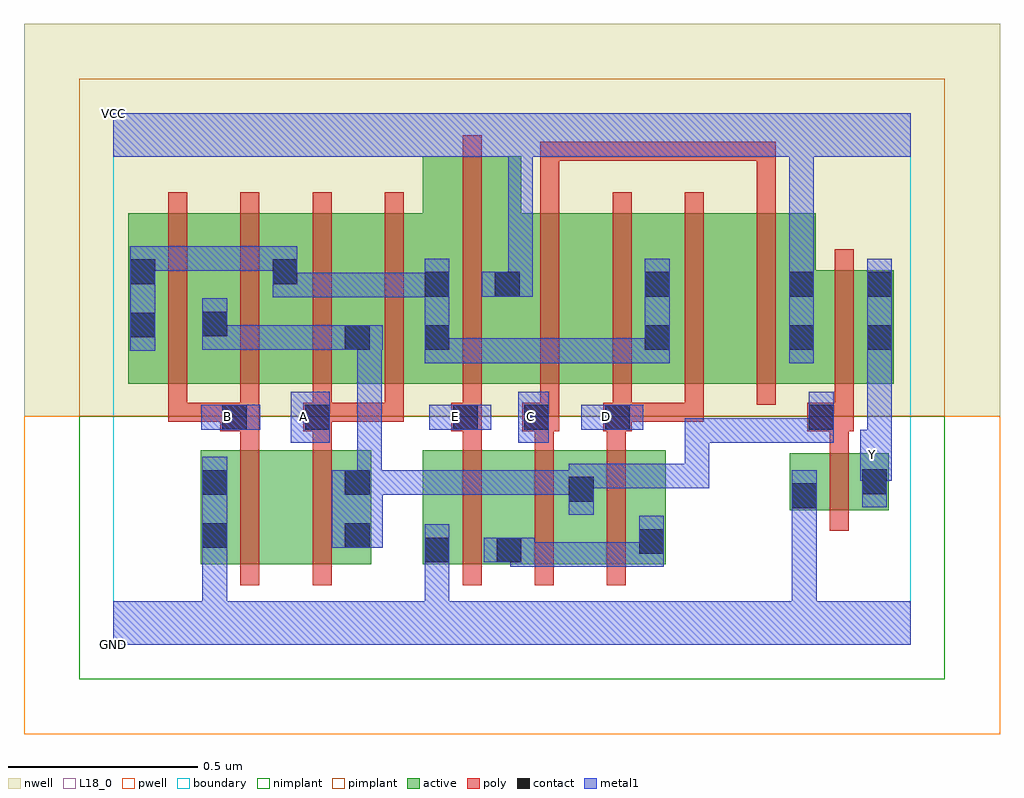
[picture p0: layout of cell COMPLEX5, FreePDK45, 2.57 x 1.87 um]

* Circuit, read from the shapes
.subckt COMPLEX5 A B C D E GND VCC Y
M1 n1 B GND VSUBS nfet w=0.3u l=0.05u
M2 n2 A n1 VSUBS nfet w=0.3u l=0.05u
M3 n3 E GND VSUBS nfet w=0.3u l=0.05u
M4 n2 C n3 VSUBS nfet w=0.3u l=0.05u
M5 n3 D n2 VSUBS nfet w=0.3u l=0.05u
M6 Y n2 GND VSUBS nfet w=0.15u l=0.05u
M7 n2 B n4 n5 pfet w=0.45u l=0.05u m=2
M8 n2 A n4 n5 pfet w=0.45u l=0.05u m=2
M9 VCC E n4 n5 pfet w=0.6u l=0.05u
M10 n6 C VCC n5 pfet w=0.45u l=0.05u
M11 n4 D n6 n5 pfet w=0.45u l=0.05u
M12 n7 D n4 n5 pfet w=0.45u l=0.05u
M13 VCC C n7 n5 pfet w=0.45u l=0.05u
M14 Y n2 VCC n5 pfet w=0.3u l=0.05u
.ends

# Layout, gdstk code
import gdstk
lib = gdstk.Library(unit=1e-6, precision=1e-09)
def R(c, l, rs):  # rectangles x0, y0, x1, y1
    for r in rs: c.add(gdstk.rectangle(r[:2], r[2:], *l))
def A(c, l, x, y, w, h, nx, ny, dx, dy):  # array of equal rectangles
    R(c, l, [(x+i*dx, y+j*dy, x+i*dx+w, y+j*dy+h) for i in range(nx) for j in range(ny)])
active = (1, 0)
pwell = (2, 0)
nwell = (3, 0)
nimplant = (4, 0)
pimplant = (5, 0)
poly = (9, 0)
contact = (10, 0)
metal1 = (11, 0)
L18_0 = (18, 0)
boundary = (235, 0)

complex5 = lib.new_cell('COMPLEX5')
R(complex5, active, [(0.23,0.212,0.455,0.512), (0.455,0.212,0.68,0.512), (0.815,0.212,1.08,0.512), (0.815,0.212,0.89,0.512), (1.005,0.212,1.27,0.512), (1.005,0.212,1.08,0.392), (1.195,0.212,1.455,0.512), (1.38,0.235,1.455,0.512), (0.23,0.247,0.305,0.512), (0.605,0.247,0.68,0.512), (1.195,0.247,1.27,0.447), (1.782,0.355,1.857,0.505), (1.782,0.355,2.042,0.505), (1.967,0.355,2.042,0.505), (0.04,0.687,0.305,1.137), (0.04,0.687,0.115,1.107), (0.23,0.687,0.305,1.07), (0.23,0.687,0.49,1.137), (0.415,0.687,0.68,1.137), (0.605,0.687,0.89,1.137), (0.605,0.687,0.68,1.07), (0.815,0.687,1.075,1.287), (0.815,0.687,0.89,1.2), (1,0.687,1.245,1.137), (1.245,0.687,1.47,1.137), (1.395,0.687,1.47,1.137), (1.395,0.687,1.625,1.137), (1.625,0.687,1.85,1.137), (1.775,0.687,2.055,0.987), (1.775,0.687,1.85,1.137), (1.98,0.687,2.055,0.987), (1,0.722,1.075,1.107), (0.415,0.857,0.49,1.107)])
R(complex5, pwell, [(-0.235,-0.235,2.335,0.602)])
R(complex5, nwell, [(-0.235,0.602,2.335,1.635)])
R(complex5, nimplant, [(-0.09,-0.09,2.19,0.602)])
R(complex5, pimplant, [(-0.09,0.602,2.19,1.49)])
A(complex5, poly, 0.92, 0.157, 0.05, 0.41, 3, 1, 0.19, 0)
A(complex5, poly, 0.92, 0.517, 0.05, 0.095, 3, 1, 0.19, 0)
A(complex5, poly, 0.145, 0.587, 0.05, 0.095, 4, 1, 0.19, 0)
A(complex5, poly, 1.125, 0.587, 0.05, 0.095, 3, 1, 0.19, 0)
A(complex5, poly, 0.145, 0.632, 0.05, 0.56, 4, 1, 0.19, 0)
A(complex5, poly, 1.125, 0.632, 0.05, 0.56, 4, 1, 0.19, 0)
R(complex5, poly, [(0.335,0.157,0.385,0.567), (0.525,0.157,0.575,0.567), (1.887,0.3,1.937,0.56), (1.887,0.51,1.937,0.612), (0.335,0.517,0.385,0.612), (0.525,0.517,0.575,0.612), (0.282,0.562,0.385,0.637), (0.5,0.562,0.575,0.637), (0.89,0.562,0.97,0.637), (1.077,0.562,1.175,0.637), (1.29,0.562,1.365,0.637), (1.827,0.562,1.95,0.637), (0.145,0.587,0.195,0.637), (0.145,0.587,0.195,0.637), (0.145,0.587,0.195,0.637), (0.145,0.587,0.332,0.637), (0.525,0.587,0.765,0.637), (0.715,0.587,0.765,0.637), (0.715,0.587,0.765,0.637), (0.715,0.587,0.765,0.637), (0.92,0.587,0.97,0.682), (1.315,0.587,1.555,0.637), (1.505,0.587,1.555,0.637), (1.505,0.587,1.555,0.637), (1.505,0.587,1.555,0.637), (1.9,0.587,1.95,0.682), (0.92,0.632,0.97,1.342), (1.9,0.632,1.95,1.042), (1.125,1.142,1.175,1.325), (1.695,1.142,1.745,1.325), (1.125,1.275,1.175,1.325), (1.125,1.275,1.175,1.325), (1.125,1.275,1.175,1.325), (1.125,1.275,1.307,1.325), (1.257,1.275,1.307,1.325), (1.257,1.275,1.497,1.325), (1.447,1.275,1.497,1.325), (1.447,1.275,1.497,1.325), (1.447,1.275,1.497,1.325), (1.447,1.275,1.745,1.325), (1.695,1.275,1.745,1.325), (1.695,1.275,1.745,1.325), (1.695,1.275,1.745,1.325)])
R(complex5, contact, [(0.82,0.217,0.885,0.282), (1.01,0.217,1.075,0.282), (1.385,0.24,1.45,0.305), (0.235,0.255,0.3,0.32), (0.61,0.255,0.675,0.32), (1.787,0.36,1.852,0.425), (1.2,0.377,1.265,0.442), (0.235,0.395,0.3,0.46), (0.61,0.395,0.675,0.46), (1.972,0.397,2.037,0.462), (0.287,0.567,0.352,0.632), (0.505,0.567,0.57,0.632), (0.895,0.567,0.96,0.632), (1.082,0.567,1.147,0.632), (1.295,0.567,1.36,0.632), (1.832,0.567,1.897,0.632), (0.61,0.777,0.675,0.842), (0.82,0.777,0.885,0.842), (1.4,0.777,1.465,0.842), (1.78,0.777,1.845,0.842), (1.985,0.777,2.05,0.842), (0.045,0.81,0.11,0.875), (0.235,0.812,0.3,0.877), (0.82,0.917,0.885,0.982), (1.005,0.917,1.07,0.982), (1.4,0.917,1.465,0.982), (1.78,0.917,1.845,0.982), (1.985,0.917,2.05,0.982), (0.045,0.95,0.11,1.015), (0.42,0.95,0.485,1.015)])
R(complex5, metal1, [(0,0,2.1,0.115), (0.235,0.05,0.3,0.115), (0.235,0.05,0.3,0.115), (0.235,0.05,0.3,0.285), (0.82,0.05,0.885,0.115), (0.82,0.05,0.885,0.115), (0.82,0.05,0.885,0.247), (1.787,0.05,1.852,0.115), (1.787,0.05,1.852,0.115), (1.787,0.05,1.852,0.115), (1.787,0.05,1.852,0.115), (1.787,0.05,1.852,0.39), (0.82,0.182,0.885,0.317), (1.045,0.205,1.247,0.27), (1.045,0.205,1.11,0.282), (1.182,0.205,1.247,0.27), (1.182,0.205,1.247,0.27), (1.182,0.205,1.247,0.27), (1.182,0.205,1.45,0.27), (1.385,0.205,1.45,0.34), (0.975,0.217,1.11,0.282), (1.045,0.217,1.11,0.282), (0.235,0.22,0.3,0.495), (0.575,0.255,0.71,0.46), (1.787,0.325,1.852,0.46), (1.2,0.342,1.265,0.477), (1.972,0.362,2.037,0.497), (0.642,0.395,0.707,0.842), (0.645,0.395,0.71,0.46), (0.645,0.395,0.71,0.46), (0.645,0.395,0.897,0.46), (0.832,0.395,0.897,0.46), (0.832,0.395,0.897,0.46), (0.832,0.395,0.897,0.46), (0.832,0.395,1.11,0.46), (1.045,0.395,1.11,0.46), (1.045,0.395,1.11,0.46), (1.045,0.395,1.11,0.46), (1.045,0.395,1.265,0.46), (1.2,0.412,1.432,0.477), (1.367,0.412,1.432,0.477), (1.367,0.412,1.432,0.477), (1.367,0.412,1.432,0.477), (1.367,0.412,1.57,0.477), (1.505,0.412,1.57,0.477), (1.505,0.412,1.57,0.477), (1.505,0.412,1.57,0.477), (1.505,0.412,1.57,0.597), (1.967,0.432,2.05,0.567), (1.972,0.432,2.037,0.497), (1.985,0.502,2.05,0.807), (0.467,0.532,0.57,0.667), (1.067,0.532,1.147,0.667), (1.505,0.532,1.57,0.597), (1.505,0.532,1.707,0.597), (1.642,0.532,1.707,0.597), (1.642,0.532,1.895,0.597), (1.83,0.532,1.895,0.597), (1.83,0.532,1.897,0.597), (1.832,0.532,1.897,0.667), (0.232,0.567,0.387,0.632), (0.832,0.567,0.995,0.632), (1.232,0.567,1.395,0.632), (0.82,0.742,0.885,1.017), (0.82,0.742,0.885,0.807), (0.82,0.742,0.885,0.807), (0.82,0.742,0.885,0.807), (0.82,0.742,0.885,0.807), (0.82,0.742,1.11,0.807), (1.045,0.742,1.11,0.807), (1.045,0.742,1.11,0.807), (1.045,0.742,1.11,0.807), (1.045,0.742,1.295,0.807), (1.23,0.742,1.295,0.807), (1.23,0.742,1.295,0.807), (1.23,0.742,1.295,0.807), (1.23,0.742,1.465,0.807), (1.4,0.742,1.465,1.017), (1.78,0.742,1.845,1.017), (1.985,0.742,2.05,1.017), (0.045,0.775,0.11,1.05), (0.235,0.777,0.3,0.842), (0.235,0.777,0.3,0.842), (0.235,0.777,0.3,0.912), (0.235,0.777,0.437,0.842), (0.372,0.777,0.437,0.842), (0.372,0.777,0.437,0.842), (0.372,0.777,0.437,0.842), (0.372,0.777,0.64,0.842), (0.575,0.777,0.71,0.842), (0.642,0.777,0.707,0.842), (0.642,0.777,0.707,0.842), (0.42,0.915,0.485,0.98), (0.42,0.915,0.485,0.98), (0.42,0.915,0.485,1.05), (0.42,0.915,0.707,0.98), (0.642,0.915,0.707,0.98), (0.642,0.915,0.707,0.98), (0.642,0.915,0.707,0.98), (0.642,0.915,0.885,0.98), (0.97,0.917,1.105,0.982), (1.04,0.917,1.105,1.35), (1.78,0.952,1.845,1.017), (1.78,0.952,1.845,1.017), (1.78,0.952,1.845,1.35), (0.045,0.985,0.11,1.05), (0.045,0.985,0.11,1.05), (0.045,0.985,0.247,1.05), (0.182,0.985,0.247,1.05), (0.182,0.985,0.247,1.05), (0.182,0.985,0.247,1.05), (0.182,0.985,0.485,1.05), (0,1.285,2.1,1.4)])
A(complex5, L18_0, 0.867, 0.567, 0.065, 0.065, 3, 1, 0.2, 0)
R(complex5, L18_0, [(0,0,2.1,0.115), (0.235,0.05,0.3,0.115), (0.235,0.05,0.3,0.115), (0.235,0.05,0.3,0.285), (0.82,0.05,0.885,0.115), (0.82,0.05,0.885,0.115), (0.82,0.05,0.885,0.247), (1.787,0.05,1.852,0.115), (1.787,0.05,1.852,0.115), (1.787,0.05,1.852,0.115), (1.787,0.05,1.852,0.115), (1.787,0.05,1.852,0.39), (0.82,0.182,0.885,0.317), (0.235,0.22,0.3,0.495), (1.787,0.325,1.852,0.46), (1.972,0.362,2.037,0.497), (1.967,0.432,2.05,0.567), (1.972,0.432,2.037,0.497), (1.967,0.467,2.032,0.532), (1.985,0.502,2.05,0.807), (0.467,0.532,0.57,0.667), (1.067,0.532,1.147,0.667), (0.232,0.567,0.387,0.632), (0.267,0.567,0.332,0.632), (0.467,0.567,0.532,0.632), (0.832,0.567,0.995,0.632), (1.232,0.567,1.395,0.632), (1.78,0.742,1.845,1.017), (1.985,0.742,2.05,1.017), (0.97,0.917,1.105,0.982), (1.04,0.917,1.105,1.35), (1.78,0.952,1.845,1.017), (1.78,0.952,1.845,1.017), (1.78,0.952,1.845,1.35), (0,1.285,2.1,1.4)])
R(complex5, boundary, [(0,0,2.1,1.4)])
complex5.add(gdstk.Label('A', (0.5,0.6), layer=11, texttype=0))
complex5.add(gdstk.Label('B', (0.3,0.6), layer=11, texttype=0))
complex5.add(gdstk.Label('C', (1.1,0.6), layer=11, texttype=0))
complex5.add(gdstk.Label('D', (1.3,0.6), layer=11, texttype=0))
complex5.add(gdstk.Label('E', (0.9,0.6), layer=11, texttype=0))
complex5.add(gdstk.Label('Y', (2,0.5), layer=11, texttype=0))
complex5.add(gdstk.Label('VCC', (0,1.4), layer=11, texttype=0))
complex5.add(gdstk.Label('GND', (0,0), layer=11, texttype=0))

lib.write_gds('COMPLEX5.gds')
